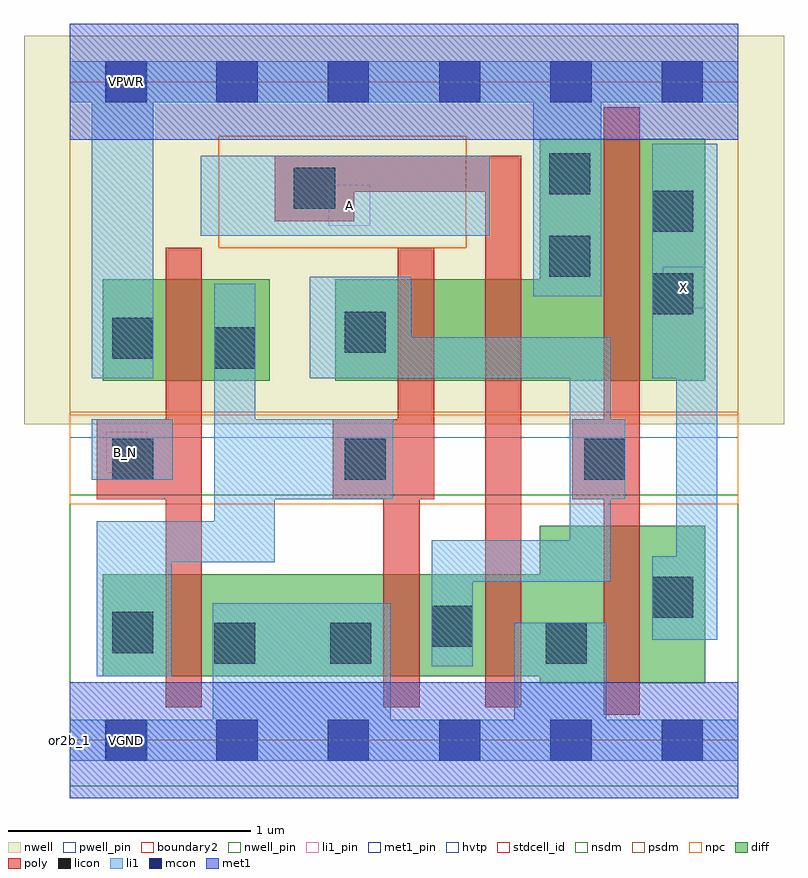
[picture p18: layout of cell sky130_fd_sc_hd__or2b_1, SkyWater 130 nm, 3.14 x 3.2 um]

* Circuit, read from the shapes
.subckt sky130_fd_sc_hd__or2b_1 A B_N VGND VNB VPB VPWR X
XM1 VGND B_N n1 VNB sky130_fd_pr__nfet_01v8 w=0.42 l=0.15
XM2 n2 n1 VGND VNB sky130_fd_pr__nfet_01v8 w=0.42 l=0.15
XM3 VGND A n2 VNB sky130_fd_pr__nfet_01v8 w=0.42 l=0.15
XM4 X n2 VGND VNB sky130_fd_pr__nfet_01v8 w=0.65 l=0.15
XM5 n1 B_N VPWR VPB sky130_fd_pr__pfet_01v8_hvt w=0.42 l=0.15
XM6 n3 n1 n2 VPB sky130_fd_pr__pfet_01v8_hvt w=0.42 l=0.15
XM7 VPWR A n3 VPB sky130_fd_pr__pfet_01v8_hvt w=0.42 l=0.15
XM8 X n2 VPWR VPB sky130_fd_pr__pfet_01v8_hvt w=1 l=0.15
.ends

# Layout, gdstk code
import gdstk
lib = gdstk.Library(unit=1e-6, precision=1e-09)
def R(c, l, rs):  # rectangles x0, y0, x1, y1
    for r in rs: c.add(gdstk.rectangle(r[:2], r[2:], *l))
def A(c, l, x, y, w, h, nx, ny, dx, dy):  # array of equal rectangles
    R(c, l, [(x+i*dx, y+j*dy, x+i*dx+w, y+j*dy+h) for i in range(nx) for j in range(ny)])
def P(c, l, *ps):  # polygons
    for p in ps: c.add(gdstk.Polygon(p, *l))
nwell_pin = (64, 16)
nwell = (64, 20)
diff = (65, 20)
poly = (66, 20)
licon = (66, 44)
li1_pin = (67, 16)
li1 = (67, 20)
mcon = (67, 44)
met1_pin = (68, 16)
met1 = (68, 20)
hvtp = (78, 44)
stdcell_id = (81, 4)
nsdm = (93, 44)
psdm = (94, 20)
npc = (95, 20)
pwell_pin = (122, 16)
boundary2 = (236, 0)

sky130_fd_sc_hd__or2b_1 = lib.new_cell('sky130_fd_sc_hd__or2b_1')
R(sky130_fd_sc_hd__or2b_1, nwell_pin, [(0.15,2.635,0.32,2.805)])
R(sky130_fd_sc_hd__or2b_1, nwell, [(-0.19,1.305,2.95,2.91)])
R(sky130_fd_sc_hd__or2b_1, diff, [(0.135,1.485,0.825,1.905)])
P(sky130_fd_sc_hd__or2b_1, diff, [(2.625,2.485),(1.94,2.485),(1.94,1.905),(1.095,1.905),(1.095,1.485),(2.625,1.485)],
  [(2.625,0.885),(1.94,0.885),(1.94,0.685),(0.135,0.685),(0.135,0.265),(1.94,0.265),(1.94,0.235),(2.625,0.235)])
P(sky130_fd_sc_hd__or2b_1, poly, [(0.545,2.035),(0.395,2.035),(0.395,1.325),(0.11,1.325),(0.11,0.995),(0.395,0.995),(0.395,0.135),(0.545,0.135)],
  [(2.355,2.615),(2.205,2.615),(2.205,1.325),(2.075,1.325),(2.075,0.995),(2.205,0.995),(2.205,0.105),(2.355,0.105)],
  [(1.505,2.035),(1.355,2.035),(1.355,1.325),(1.085,1.325),(1.085,0.995),(1.295,0.995),(1.295,0.135),(1.445,0.135),(1.445,0.995),(1.505,0.995)],
  [(1.865,2.415),(0.845,2.415),(0.845,2.145),(1.175,2.145),(1.175,2.265),(1.715,2.265),(1.715,0.135),(1.865,0.135)])
R(sky130_fd_sc_hd__or2b_1, licon, [(0.595,0.315,0.765,0.485), (1.075,0.315,1.245,0.485), (1.965,0.315,2.135,0.485), (0.175,0.36,0.345,0.53), (1.495,0.385,1.665,0.555), (2.405,0.505,2.575,0.675), (0.175,1.075,0.345,1.245), (1.135,1.075,1.305,1.245), (2.125,1.075,2.295,1.245), (0.595,1.535,0.765,1.705), (0.175,1.575,0.345,1.745), (1.135,1.6,1.305,1.77), (2.405,1.76,2.575,1.93), (1.98,1.915,2.15,2.085), (2.405,2.1,2.575,2.27), (0.925,2.195,1.095,2.365), (1.98,2.255,2.15,2.425)])
R(sky130_fd_sc_hd__or2b_1, li1_pin, [(0.15,1.105,0.32,1.275), (2.45,1.785,2.62,1.955), (1.07,2.125,1.24,2.295)])
R(sky130_fd_sc_hd__or2b_1, li1, [(0.09,1.075,0.425,1.325), (0.54,2.085,1.735,2.415)])
P(sky130_fd_sc_hd__or2b_1, li1, [(2.76,0.085),(2.215,0.085),(2.215,0.485),(1.835,0.485),(1.835,0.085),(1.325,0.085),(1.325,0.565),(0.59,0.565),(0.59,0.085),(0,0.085),(0,-0.085),(2.76,-0.085)],
  [(2.76,2.805),(0,2.805),(0,2.635),(0.09,2.635),(0.09,1.495),(0.345,1.495),(0.345,2.635),(1.915,2.635),(1.915,1.835),(2.195,1.835),(2.195,2.635),(2.76,2.635)],
  [(1.335,1.325),(0.765,1.325),(0.765,1.885),(0.595,1.885),(0.595,0.905),(0.11,0.905),(0.11,0.265),(0.42,0.265),(0.42,0.735),(0.845,0.735),(0.845,0.995),(1.335,0.995)],
  [(2.295,1.325),(2.235,1.325),(2.235,1.665),(1.41,1.665),(1.41,1.915),(0.99,1.915),(0.99,1.495),(2.065,1.495),(2.065,0.825),(1.495,0.825),(1.495,0.305),(1.665,0.305),(1.665,0.655),(2.235,0.655),(2.235,0.995),(2.295,0.995)],
  [(2.675,2.465),(2.405,2.465),(2.405,1.495),(2.505,1.495),(2.505,0.76),(2.405,0.76),(2.405,0.415),(2.675,0.415)])
A(sky130_fd_sc_hd__or2b_1, mcon, 0.145, -0.085, 0.17, 0.17, 6, 2, 0.46, 2.72)
R(sky130_fd_sc_hd__or2b_1, met1_pin, [(0.15,-0.085,0.32,0.085), (0.15,2.635,0.32,2.805)])
R(sky130_fd_sc_hd__or2b_1, hvtp, [(0,1.25,2.76,2.72)])
R(sky130_fd_sc_hd__or2b_1, stdcell_id, [(0,0,2.76,2.72)])
R(sky130_fd_sc_hd__or2b_1, nsdm, [(0,-0.19,2.76,1.015)])
P(sky130_fd_sc_hd__or2b_1, psdm, [(2.76,2.91),(1.635,2.91),(1.635,2.035),(0.615,2.035),(0.615,2.495),(1.635,2.495),(1.635,2.91),(0,2.91),(0,1.355),(2.76,1.355)])
R(sky130_fd_sc_hd__or2b_1, npc, [(0,0.975,2.76,1.345), (0.615,2.035,1.64,2.495)])
R(sky130_fd_sc_hd__or2b_1, pwell_pin, [(0.15,-0.085,0.32,0.085)])
R(sky130_fd_sc_hd__or2b_1, boundary2, [(0,0,2.76,2.72)])
sky130_fd_sc_hd__or2b_1.add(gdstk.FlexPath([(0,2.72),(2.76,2.72)], 0.48, ends="flush", simple_path=True, layer=68, datatype=20))  # met1
sky130_fd_sc_hd__or2b_1.add(gdstk.FlexPath([(0,0),(2.76,0)], 0.48, ends="flush", simple_path=True, layer=68, datatype=20))  # met1
sky130_fd_sc_hd__or2b_1.add(gdstk.Label('A', (1.155,2.21), layer=67, texttype=5))
sky130_fd_sc_hd__or2b_1.add(gdstk.Label('B_N', (0.23,1.19), layer=67, texttype=5))
sky130_fd_sc_hd__or2b_1.add(gdstk.Label('X', (2.535,1.87), layer=67, texttype=5))
sky130_fd_sc_hd__or2b_1.add(gdstk.Label('VGND', (0.235,0), layer=68, texttype=5))
sky130_fd_sc_hd__or2b_1.add(gdstk.Label('VPWR', (0.235,2.72), layer=68, texttype=5))
sky130_fd_sc_hd__or2b_1.add(gdstk.Label('VNB', (0.235,0), layer=64, texttype=59))
sky130_fd_sc_hd__or2b_1.add(gdstk.Label('VPB', (0.235,2.72), layer=64, texttype=5))
sky130_fd_sc_hd__or2b_1.add(gdstk.Label('or2b_1', (0,0), layer=83, texttype=44))

lib.write_gds('sky130_fd_sc_hd__or2b_1.gds')
